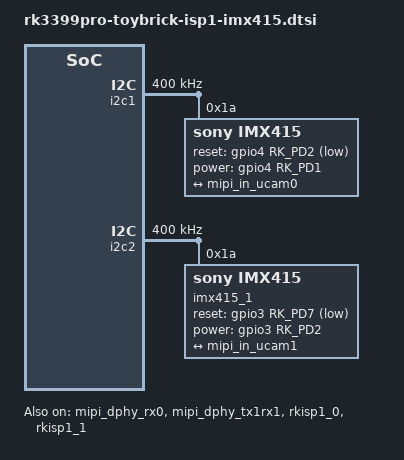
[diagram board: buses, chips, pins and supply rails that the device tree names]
/*
 * Copyright (c) 2018 Fuzhou Rockchip Electronics Co., Ltd
 *
 * This file is dual-licensed: you can use it either under the terms
 * of the GPL or the X11 license, at your option. Note that this dual
 * licensing only applies to this file, and not this project as a
 * whole.
 *
 *  a) This file is free software; you can redistribute it and/or
 *     modify it under the terms of the GNU General Public License as
 *     published by the Free Software Foundation; either version 2 of the
 *     License, or (at your option) any later version.
 *
 *     This file is distributed in the hope that it will be useful,
 *     but WITHOUT ANY WARRANTY; without even the implied warranty of
 *     MERCHANTABILITY or FITNESS FOR A PARTICULAR PURPOSE.  See the
 *     GNU General Public License for more details.
 *
 * Or, alternatively,
 *
 *  b) Permission is hereby granted, free of charge, to any person
 *     obtaining a copy of this software and associated documentation
 *     files (the "Software"), to deal in the Software without
 *     restriction, including without limitation the rights to use,
 *     copy, modify, merge, publish, distribute, sublicense, and/or
 *     sell copies of the Software, and to permit persons to whom the
 *     Software is furnished to do so, subject to the following
 *     conditions:
 *
 *     The above copyright notice and this permission notice shall be
 *     included in all copies or substantial portions of the Software.
 *
 *     THE SOFTWARE IS PROVIDED "AS IS", WITHOUT WARRANTY OF ANY KIND,
 *     EXPRESS OR IMPLIED, INCLUDING BUT NOT LIMITED TO THE WARRANTIES
 *     OF MERCHANTABILITY, FITNESS FOR A PARTICULAR PURPOSE AND
 *     NONINFRINGEMENT. IN NO EVENT SHALL THE AUTHORS OR COPYRIGHT
 *     HOLDERS BE LIABLE FOR ANY CLAIM, DAMAGES OR OTHER LIABILITY,
 *     WHETHER IN AN ACTION OF CONTRACT, TORT OR OTHERWISE, ARISING
 *     FROM, OUT OF OR IN CONNECTION WITH THE SOFTWARE OR THE USE OR
 *     OTHER DEALINGS IN THE SOFTWARE.
 */
 / {
	 cam_ircut0: cam_ircut {
		 status = "disabled";
		 compatible = "rockchip,ircut";
		 ircut-open-gpios = <&gpio3 RK_PC1 GPIO_ACTIVE_HIGH>;
		 ircut-close-gpios	= <&gpio3 RK_PC0 GPIO_ACTIVE_HIGH>;
		 rockchip,camera-module-index = <0>;
		 rockchip,camera-module-facing = "back";
	 };
 };

&isp0 {
	status = "disabled";
};
 
&isp1 {
	status = "disabled";
};

&isp0_mmu {
	status = "okay";
};

&isp1_mmu {
	status = "disabled";
};

&i2c1 {
	status = "okay";
	i2c-scl-rising-time-ns = <300>;
	i2c-scl-falling-time-ns = <15>;
	clock-frequency=<400000>;

	imx415: imx415@1a {
		compatible = "sony,imx415";
		status = "okay";
		reg = <0x1a>;
		clocks = <&cru SCLK_CIF_OUT>;
		clock-names = "xvclk";
		assigned-clocks = <&cru SCLK_CIF_OUT_SRC>;
		assigned-clock-rates = <600000000>;
		//conflict with csi-ctl-gpios
		reset-gpios = <&gpio4 RK_PD2 GPIO_ACTIVE_LOW>;
		power-gpios = <&gpio4 RK_PD1 GPIO_ACTIVE_HIGH>;
		pinctrl-names = "rockchip,camera_default";
		pinctrl-0 = <&cif_clkout>;
		rockchip,camera-module-index = <0>;
		rockchip,camera-module-facing = "back";
		rockchip,camera-module-name = "CMK-OT2022-PX1";
		rockchip,camera-module-lens-name = "IR0147-50IRC-8M-F20";
		//lens-focus = <&cam_ircut0>;
		port {
			ucam_out0: endpoint {
				remote-endpoint = <&mipi_in_ucam0>;
				data-lanes = <1 2 3 4>;
			};
		};
	};

};

&i2c2 {
	status = "okay";
	i2c-scl-rising-time-ns = <300>;
	i2c-scl-falling-time-ns = <15>;
	clock-frequency=<400000>;

	imx415_1: imx415_1@1a {
		compatible = "sony,imx415";
		status = "okay";
		reg = <0x1a>;
		clocks = <&cru SCLK_CIF_OUT>;
		clock-names = "xvclk";
		assigned-clocks = <&cru SCLK_CIF_OUT_SRC>;
		assigned-clock-rates = <600000000>;
		//conflict with csi-ctl-gpios
		reset-gpios = <&gpio3 RK_PD7 GPIO_ACTIVE_LOW>;
		power-gpios = <&gpio3 RK_PD2 GPIO_ACTIVE_HIGH>;
		pinctrl-names = "rockchip,camera_default";
		pinctrl-0 = <&cif_clkout>;
		rockchip,camera-module-index = <0>;
		rockchip,camera-module-facing = "front";
		rockchip,camera-module-name = "CMK-OT2022-PX1";
		rockchip,camera-module-lens-name = "IR0147-50IRC-8M-F20";
		//lens-focus = <&cam_ircut0>;
		port {
			ucam_out1: endpoint {
				remote-endpoint = <&mipi_in_ucam1>;
				data-lanes = <1 2 3 4>;
			};
		};
	};
};


&mipi_dphy_rx0 {
	status = "okay";

	ports {
		#address-cells = <1>;
		#size-cells = <0>;

		port@0 {
			reg = <0>;
			#address-cells = <1>;
			#size-cells = <0>;

			mipi_in_ucam0: endpoint@1 {
				reg = <1>;
				remote-endpoint = <&ucam_out0>;
				data-lanes = <1 2 3 4>;
			};
		};

		port@1 {
			reg = <1>;
			#address-cells = <1>;
			#size-cells = <0>;

			dphy_rx0_out: endpoint@0 {
				reg = <0>;
				remote-endpoint = <&isp0_mipi_in>;
			};
		};
	};
};

&mipi_dphy_tx1rx1 {
	status = "okay";

	ports {
		#address-cells = <1>;
		#size-cells = <0>;

		port@0 {
			reg = <0>;
			#address-cells = <1>;
			#size-cells = <0>;

			mipi_in_ucam1: endpoint@1 {
				reg = <1>;
				remote-endpoint = <&ucam_out1>;
				data-lanes = <1 2 3 4>;
			};
		};

		port@1 {
			reg = <1>;
			#address-cells = <1>;
			#size-cells = <0>;

			dphy_tx1rx1_out: endpoint@0 {
				reg = <0>;
				remote-endpoint = <&isp1_mipi_in>;
			};
		};
	};
};


&rkisp1_0 {
	status = "okay";

	port {
		#address-cells = <1>;
		#size-cells = <0>;

		isp0_mipi_in: endpoint@0 {
			reg = <0>;
			remote-endpoint = <&dphy_rx0_out>;
		};
	};
};

&rkisp1_1 {
	status = "okay";

	port {
		#address-cells = <1>;
		#size-cells = <0>;

		isp1_mipi_in: endpoint@0 {
			reg = <0>;
			remote-endpoint = <&dphy_tx1rx1_out>;
		};
	};
};

